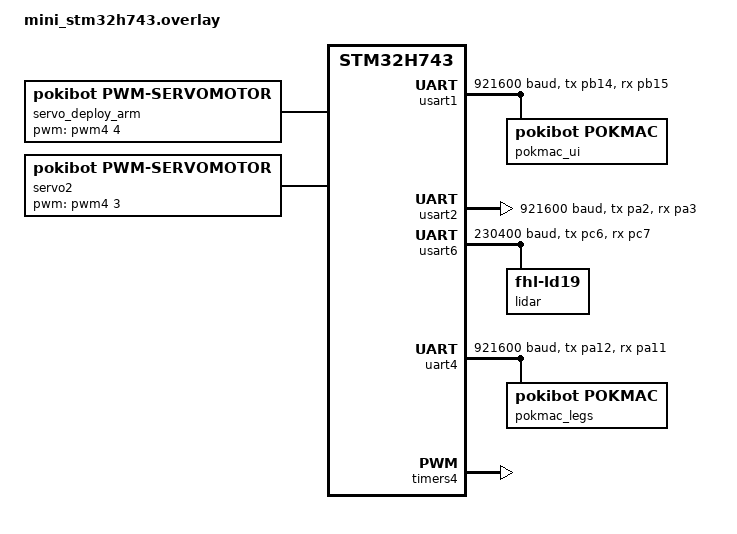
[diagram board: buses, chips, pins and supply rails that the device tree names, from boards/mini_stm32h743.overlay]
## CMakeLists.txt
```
cmake_minimum_required(VERSION 3.20.0)

find_package(Zephyr REQUIRED HINTS $ENV{ZEPHYR_BASE})
project(pokirobot_brain_soft)

target_include_directories(app PRIVATE src)

target_sources(app PRIVATE
    src/main.c
    src/nav/nav.c
    # src/control/control.c
    src/pokarm/pokarm.c
    src/pomicontrol/pomicontrol.c
    src/astar-jps/IndexPriorityQueue.c
    src/astar-jps/AStar.c
)


if(BOARD STREQUAL "native_sim")
target_sources(app PRIVATE
    src/const_publisher.c
    src/control/control_sim.c
)
else()
target_sources(app PRIVATE
    src/control/control.c
)
endif()

# Quick hack for Clion to include all zephyr workspace files in the project file tree view.
include_directories(${ZEPHYR_BASE}/..)
```

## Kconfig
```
menu "Zephyr"
source "Kconfig.zephyr"
endmenu

menu "PokiSettings"

rsource "src/nav/Kconfig"

endmenu
```

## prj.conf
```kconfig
CONFIG_MAIN_THREAD_PRIORITY=15

# SERIAL
CONFIG_SERIAL=y
CONFIG_LOG=y
CONFIG_UART_INTERRUPT_DRIVEN=y
CONFIG_DMA=y
CONFIG_UART_ASYNC_API=y

CONFIG_CAN=y

CONFIG_LOG_MODE_DEFERRED=y
# CONFIG_LOG_MODE_IMMEDIATE=y
CONFIG_LOG_BACKEND_SHOW_COLOR=y
CONFIG_LOG_DEFAULT_LEVEL=3
CONFIG_LOG_BUFFER_SIZE=8192

# MATH
CONFIG_FPU=y
CONFIG_FPU_SHARING=y

CONFIG_HEAP_MEM_POOL_SIZE=65536
CONFIG_MAIN_STACK_SIZE=4096

CONFIG_EVENTS=y

CONFIG_POKUTILS=y

CONFIG_POKUICOM=y
CONFIG_LIDAR=y
CONFIG_POKSTEPPER=y
CONFIG_SERVOMOTOR=y

CONFIG_CBPRINTF_COMPLETE=y
CONFIG_CBPRINTF_FP_SUPPORT=y

CONFIG_NOCACHE_MEMORY=y

CONFIG_UART_USE_RUNTIME_CONFIGURE=y
```

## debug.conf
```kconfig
CONFIG_DEBUG=y
CONFIG_ASSERT=y
CONFIG_ASAN=y
CONFIG_UBSAN=y
CONFIG_STACK_SENTINEL=y
CONFIG_INIT_STACKS=y
CONFIG_THREAD_MONITOR=y
```

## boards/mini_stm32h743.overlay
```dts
/ {
    chosen {
        pokibot,pokuicom = &pokmac_ui;
        pokibot,poklegscom = &pokmac_legs;
  		zephyr,console = &usart2;
		zephyr,shell-uart = &usart2;
    };

    aliases {
        mainlidar = &lidar;
    };

    servo_deploy_arm:servo1 {
        status = "okay";
        compatible = "pokibot,pwm-servomotor";
        pwms = <&pwm4 4 PWM_MSEC(20) PWM_POLARITY_NORMAL>;
        min-pulse = <PWM_USEC(500)>;
        max-pulse = <PWM_USEC(2500)>;
        min-angle = <0>;
        max-angle = <180>;
    };

    servo2 {
        status = "okay";
        compatible = "pokibot,pwm-servomotor";
        pwms = <&pwm4 3 PWM_MSEC(20) PWM_POLARITY_NORMAL>;
        min-pulse = <PWM_USEC(500)>;
        max-pulse = <PWM_USEC(2500)>;
        min-angle = <0>;
        max-angle = <180>;
    };
};

&usart1 {
    status = "okay";
    pinctrl-0 = <&usart1_tx_pb14 &usart1_rx_pb15>;
    pinctrl-names = "default";
    current-speed = <921600>;
    pokmac_ui: pokmac_ui {
        compatible = "pokibot,pokmac";
        status = "okay";
    };
};

&usart2 {
    status = "okay";
    pinctrl-0 = <&usart2_tx_pa2 &usart2_rx_pa3>;
    pinctrl-names = "default";
   	current-speed = <921600>;
};

&usart6 {
    status = "okay";
    pinctrl-0 = <&usart6_tx_pc6 &usart6_rx_pc7>;
    pinctrl-names = "default";
   	current-speed = <230400>;
    lidar: lidar {
        compatible = "zephyr,fhl-ld19";
        status = "okay";
    };
};

&uart4 {
    status = "okay";
    pinctrl-0 = <&uart4_tx_pa12 &uart4_rx_pa11>;
    pinctrl-names = "default";
    current-speed = <921600>;
    pokmac_legs: pokmac_legs {
        compatible = "pokibot,pokmac";
        status = "okay";
    };
};

&timers4 {
	status = "okay";

	pwm4: pwm {
		status = "okay";
		pinctrl-0 = <&tim4_ch4_pd15 &tim4_ch3_pd14>;
		pinctrl-names = "default";
	};
};
```

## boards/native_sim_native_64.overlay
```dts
/ {

aliases {
		mainlidar = &lidar;
    };

    lidar: lidar {
        status = "okay";
        compatible = "pokibot,msmlidar";
        id = <0>;
    };

    stepper_arm: stepper_arm {
        status = "okay";
        compatible = "pokibot,empty-pokstepper";
    };

    stepper0: stepper0 {
        status = "okay";
        compatible = "pokibot,empty-pokstepper";
    };

    stepper1: stepper1 {
        status = "okay";
        compatible = "pokibot,empty-pokstepper";
    };

    stepper2: stepper2 {
        status = "okay";
        compatible = "pokibot,empty-pokstepper";
    };
};
```

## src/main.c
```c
#include <zephyr/kernel.h>
#include <zephyr/logging/log.h>
#include <pokibot/pokuicom.h>
#include "nav/nav.h"
#include "pokibot/lib/poktocol.h"
#include "pokibot/lib/pokutils.h"
#include "pokibot/poktypes.h"
#include "pomicontrol/pomicontrol.h"
#include "pokdefs.h"
#include "pokarm/pokarm.h"
#include "control/control.h"
#include <math.h>
#include <stdint.h>

LOG_MODULE_REGISTER(main);

#define STAND_DROP_DISTANCE_FROM_BORDER 0.075f

enum nav_obstacle_names {
    NAV_OBS_NAME_GRENIER,
    NAV_OBS_NAME_CRATES_TOP_RIGHT,
    NAV_OBS_NAME_LAST_STATIC_REGISTER,
};

// clang-format off
struct nav_obstacle static_obstacles[] = {
    // RAMPE
    [NAV_OBS_NAME_GRENIER] = {
        .type = NAV_OBSTACLE_TYPE_RECTANGLE,
        .data.rectangle = {
            .point = {
                .x = 0.0f,
                .y = 1775.0f,
            },
            .width = 1800.0f,
            .height = 450.0f,
        }
    },
    [NAV_OBS_NAME_CRATES_TOP_RIGHT] = {
        .type = NAV_OBSTACLE_TYPE_RECTANGLE,
        .data.rectangle = {
            .point = {
                .x = BOARD_MIN_X + 2825.0f,
                .y = 1200.0f,
            },
            .width = 150.0f,
            .height = 150.0f,
        }
    },
};
// clang-format on

void pomi_activate_work_handler(struct k_work *work);
K_WORK_DELAYABLE_DEFINE(pomi_activate_work, pomi_activate_work_handler);

void end_of_match_work_handler(struct k_work *work);
K_WORK_DELAYABLE_DEFINE(end_of_match_work, end_of_match_work_handler);

// DEFINE EVERYTHING FOR BLUE

const struct nav_obstacle start_zone = {
    .type = NAV_OBSTACLE_TYPE_RECTANGLE,
    .data.rectangle = {
        .point = {
            .x = BOARD_MIN_X + 2700.0f,
            .y = 1775.0f
        },
        .height = 450.0f,
        .width = 600.0f,
    }
};

const struct nav_obstacle end_zone = start_zone;

const point2_t start_point = {
    .x = BOARD_MIN_X + 2700.0f,
    .y = BOARD_MAX_Y - ROBOT_CENTER_TO_RECAL_SIDE,
};

#define BOARD_END_POS_X (BOARD_MIN_X + 2800.0f)

const pos2_t end_pos = {
    .x = BOARD_END_POS_X,
    .y = 1775.0f,
    .a = 0.0f,
};;

#define TEMP_0_WIDTH   250.0f
#define CURSOR_WIDTH   100.0f

#define TEMP_0_X   (BOARD_MIN_X + 2875.0f)
#define TEMP_10_X   (BOARD_MIN_X + 2300.0f)

#define CURSOR_START_X (TEMP_0_X - TEMP_0_WIDTH / 2.0f + CURSOR_WIDTH / 2.0f)
#define CURSOR_END_X (TEMP_10_X - CURSOR_WIDTH / 3.0f)

pos2_t zone_exit_wp = {
    .x = BOARD_MIN_X + 2700.0f,
    .y = 1600.0f,
    .a = 0.0f,
};

pos2_t zone_enter_wp = {
    .x = BOARD_END_POS_X,
    .y = 1200.0f,
    .a = 0.0f,
};

pos2_t corridor_top_wp = {
    .x = BOARD_MIN_X + 2500.0f,
    .y = 1200.0f,
    .a = 0.0f,
};

pos2_t corridor_mid_wp = {
    .x = BOARD_MIN_X + 2500.0f,
    .y = 850.0f,
    .a = 0.0f,
};

pos2_t corridor_bottom_wp = {
    .x = BOARD_MIN_X + 2500.0f,
    .y = 300.0f,
    .a = 0.0f,
};

pos2_t pus_top_r_wp1 = {
    .x = BOARD_MAX_X - ROBOT_DIST_TO_FLAT_SIZE - 10.0f,
    .y = 850.0f,
    .a = 0.0f,
};

pos2_t pus_top_r_wp2 = {
    .x = BOARD_MAX_X - ROBOT_DIST_TO_FLAT_SIZE - 10.0f,
    .y = 1600.0f,
    .a = 0.0f,
};

pos2_t pus_top_r_go_bw_wp3 = {
    .x = BOARD_MAX_X - ROBOT_DIST_TO_FLAT_SIZE - 10.0f,
    .y = 1500.0f,
    .a = 0.0f,
};

pos2_t pus_top_r_recal = {
    .x = BOARD_MAX_X - ROBOT_DIST_TO_FLAT_SIZE - 50.0f,
    .y = 1400.0f,
    .a = 0.0f,
};

pos2_t pus_mid_wp1 = {
    .x = BOARD_MIN_X + 2500.0f,
    .y = 800.0f,
    .a = 0.0f,
};

pos2_t pus_mid_wp2 = {
    .x = BOARD_MIN_X + 1800.0f,
    .y = 800.0f,
    .a = 0.0f,
};

pos2_t cursor_wp1 = {
    .x = CURSOR_START_X,
    .y = ROBOT_RADIUS + 50.0f,
    .a = 0.0f,
};

pos2_t cursor_wp2 = {
    .x = CURSOR_START_X,
    .y = ROBOT_RADIUS + 30.0f,
    .a = 0.0f,
};

pos2_t cursor_wp3 = {
    .x = CURSOR_END_X,
    .y = ROBOT_RADIUS + 30.0f,
    .a = 0.0f,
};

pos2_t cursor_wp4 = {
    .x = CURSOR_END_X,
    .y = ROBOT_RADIUS + 50.0f,
    .a = 0.0f,
};

struct point2 convert_point_for_team(enum pokprotocol_team color, struct point2 point)
{
    if (color == POKTOCOL_TEAM_BLUE) {
        return point;
    }

    point.x = -point.x;
    return point;
}

struct pos2 convert_pos_for_team(enum pokprotocol_team color, struct pos2 pos, float offset)
{
    if (color == POKTOCOL_TEAM_BLUE) {
        pos.a += offset;
        return pos;
    }

    pos.x = -pos.x;
    pos.a = -(pos.a - M_PI) + offset;
    return pos;
}

struct pos2 convert_pos_for_team_no_angle(enum pokprotocol_team color, struct pos2 pos, float offset)
{
    if (color == POKTOCOL_TEAM_BLUE) {
        pos.a += offset;
        return pos;
    }

    pos.x = -pos.x;
    pos.a = pos.a + offset;
    return pos;
}

void pomi_activate_work_handler(struct k_work *work)
{
    LOG_INF("Activating pomis");
    pomicontrol_activate();
}

void end_of_match_work_handler(struct k_work *work)
{
    nav_cancel();
    LOG_INF("Match is over");
    k_sleep(K_FOREVER);
}

uint8_t score = 0;

#define WAIT_EVENTS_AND_HANDLE(events)                                                             \
    nav_wait_events(&events);                                                                      \
    if (events & NAV_EVENT_CANCELED) {                                                             \
        return -2;                                                                                 \
    } else if (events & NAV_EVENT_TIMEOUT) {                                                       \
        return -1;                                                                                 \
    }

enum recal_dir {
    recal_dir_n,
    recal_dir_s,
    recal_dir_e,
    recal_dir_w,
};

void wall_recalibration(enum pokprotocol_team color, pos2_t recal_start_pos, float offset, enum recal_dir dir)
{
    return;
    const float_t recal_dist = 200.0f; 

    uint32_t nav_events;

    pos2_t start_calib_pos = convert_pos_for_team_no_angle(color, recal_start_pos, offset);
    nav_go_to_direct(start_calib_pos, K_SECONDS(10));
    nav_wait_events(&nav_events);

    nav_set_speed(200.0f, ANGULAR_VMAX_DEFAULT);  
    pos2_t sensivity = {
        .x = 1.0f,
        .y = 1.0f,
        .a = DEG_TO_RAD(0.5f),
    };
    nav_set_sensivity(&sensivity);
    LOG_INF(LOG_POS_ARGS("start_pos", recal_start_pos));
    
    pos2_t pos_recal = recal_start_pos;
    pos2_t pos_expected = recal_start_pos;
    
    float rotation_target;
    switch (dir) {
        case recal_dir_n:
        rotation_target = M_PI/2;
        pos_recal.y += recal_dist;
            pos_expected.y = BOARD_MAX_Y - ROBOT_CENTER_TO_RECAL_SIDE;
            break;
        case recal_dir_s:
            rotation_target = -M_PI/2;
            pos_recal.y -= recal_dist;
            pos_expected.y = BOARD_MIN_Y + ROBOT_CENTER_TO_RECAL_SIDE;
        break;
        case recal_dir_e:
            rotation_target = 0.0f;
            pos_recal.x += recal_dist;
            pos_expected.x = BOARD_MAX_X - ROBOT_CENTER_TO_RECAL_SIDE;
            break;
            case recal_dir_w:
            rotation_target = M_PI;
            pos_recal.x -= recal_dist;
            pos_expected.x = BOARD_MIN_X + ROBOT_CENTER_TO_RECAL_SIDE;
            break;
        default:
            return;
    }

    pos_recal.a = rotation_target;
    pos_expected.a = rotation_target;
    recal_start_pos.a = rotation_target;
    nav_go_to_direct(convert_pos_for_team(color, recal_start_pos, ROBOT_CALIB_SIDE_OFFSET), K_SECONDS(10));
    nav_wait_events(&nav_events);

    LOG_INF("rotation_target %f", (double)rotation_target);
    LOG_INF(LOG_POS_ARGS("recal_start_pos", recal_start_pos));
    LOG_INF(LOG_POS_ARGS("pos_recal", pos_recal));
    LOG_INF(LOG_POS_ARGS("pos_expected", pos_expected));
    
    pos_recal = convert_pos_for_team(color, pos_recal, ROBOT_CALIB_SIDE_OFFSET);
    pos_expected = convert_pos_for_team(color, pos_expected, ROBOT_CALIB_SIDE_OFFSET);
    recal_start_pos = convert_pos_for_team(color, recal_start_pos, ROBOT_CALIB_SIDE_OFFSET);

    LOG_INF("Back to native color");
    LOG_INF(LOG_POS_ARGS("recal_start_pos", recal_start_pos));
    LOG_INF(LOG_POS_ARGS("pos_recal", pos_recal));
    LOG_INF(LOG_POS_ARGS("pos_expected", pos_expected));
    
    nav_go_to_direct(pos_recal, K_SECONDS(10));
    nav_wait_events(&nav_events);
    nav_set_pos(pos_expected);
    
    nav_go_to_direct(recal_start_pos, K_SECONDS(10));
    nav_wait_events(&nav_events);
    
    nav_set_speed(PLANAR_VMAX_DEFAULT, ANGULAR_VMAX_DEFAULT);
    
    nav_set_sensivity(NULL);

    nav_go_to_direct(start_calib_pos, K_SECONDS(10));
    nav_wait_events(&nav_events);
}


int match(enum pokprotocol_team color)
{
    uint32_t match_start_time_ms =  k_uptime_get_32();

    nav_set_pos(convert_pos_for_team_no_angle(color, CONVERT_POINT2_TO_POS2(start_point, 0.0f), M_PI));
    nav_set_brake(false);

    LOG_INF("Leaving start zone");
    uint32_t nav_events;
    nav_go_to_direct(convert_pos_for_team_no_angle(color, zone_exit_wp, M_PI), K_FOREVER);
    nav_wait_events(&nav_events);
    nav_go_to_direct(convert_pos_for_team_no_angle(color, corridor_top_wp, M_PI), K_FOREVER);
    nav_wait_events(&nav_events);
    LOG_INF("Left start zone");

    nav_go_to_direct(convert_pos_for_team_no_angle(color, corridor_mid_wp, M_PI), K_FOREVER);
    nav_wait_events(&nav_events);
    nav_go_to_direct(convert_pos_for_team_no_angle(color, pus_top_r_wp1, M_PI), K_FOREVER);
    nav_wait_events(&nav_events);
    nav_go_to_direct(convert_pos_for_team_no_angle(color, pus_top_r_wp2, M_PI), K_FOREVER);
    nav_wait_events(&nav_events);
    score += 1;
    pokuicom_send_score(score);

    LOG_INF("Back in start zone");
    nav_go_to_direct(convert_pos_for_team_no_angle(color, pus_top_r_go_bw_wp3, M_PI), K_FOREVER);
    nav_wait_events(&nav_events);

    wall_recalibration(color, pus_top_r_recal, M_PI, recal_dir_e);

    nav_go_to_direct(convert_pos_for_team_no_angle(color, corridor_top_wp, M_PI), K_FOREVER);
    nav_wait_events(&nav_events);
    LOG_INF("Left start zone");

    LOG_INF("Push 2");
    nav_go_to_direct(convert_pos_for_team(color, pus_mid_wp1, -M_PI/2.0f), K_SECONDS(5));
    nav_wait_events(&nav_events);
    nav_go_to_direct(convert_pos_for_team(color, pus_mid_wp2, -M_PI/2.0f), K_SECONDS(5));
    nav_wait_events(&nav_events);
    nav_go_to_direct(convert_pos_for_team(color, pus_mid_wp1, -M_PI/2.0f), K_SECONDS(5));
    nav_wait_events(&nav_events);

    nav_go_to_direct(convert_pos_for_team_no_angle(color, corridor_bottom_wp, 0.0f), K_FOREVER);
    nav_wait_events(&nav_events);

    wall_recalibration(color, corridor_bottom_wp, 0.0f, recal_dir_s);

    LOG_INF("CURSOR");
    nav_go_to_direct(convert_pos_for_team_no_angle(color, cursor_wp1, M_PI), K_FOREVER);
    nav_wait_events(&nav_events);
    nav_go_to_direct(convert_pos_for_team_no_angle(color, cursor_wp2, M_PI), K_FOREVER);
    nav_wait_events(&nav_events);
    nav_go_to_direct(convert_pos_for_team_no_angle(color, cursor_wp3, M_PI), K_FOREVER);
    nav_wait_events(&nav_events);
    nav_go_to_direct(convert_pos_for_team_no_angle(color, cursor_wp4, M_PI), K_FOREVER);
    nav_wait_events(&nav_events);

    score += 1;
    pokuicom_send_score(score);

    LOG_INF("GO CORRIDOR");

    nav_go_to_direct(convert_pos_for_team_no_angle(color, corridor_bottom_wp, M_PI), K_FOREVER);
    nav_wait_events(&nav_events);
    nav_go_to_direct(convert_pos_for_team_no_angle(color, corridor_top_wp, M_PI), K_FOREVER);
    nav_wait_events(&nav_events);

    wall_recalibration(color, zone_enter_wp, M_PI, recal_dir_e);

    nav_go_to_direct(convert_pos_for_team_no_angle(color, zone_enter_wp, M_PI), K_FOREVER);
    nav_wait_events(&nav_events);

    LOG_INF("GO HOME");

    // WAIT UNTIL 95s
    while ((k_uptime_get_32() - match_start_time_ms) < (95 * 1000)) {
        k_sleep(K_MSEC(100));
    }

    nav_go_to_direct(convert_pos_for_team_no_angle(color, end_pos, 2*M_PI), K_FOREVER);
    nav_wait_events(&nav_events);

    pokuicom_send_score(123);

    k_sleep(K_FOREVER);
    return 0;
}

void calibrate(enum pokprotocol_team color)
{
    nav_obstacle_detection(false);
    // nav_set_speed(200.0f, NAV_ANGULAR_VMAX_DEFAULT);

    k_sleep(K_MSEC(1000));

    pos2_t start_pos = CONVERT_POINT2_TO_POS2(start_point, 0.0f);
    nav_set_pos(convert_pos_for_team_no_angle(color, start_pos, M_PI));
    nav_set_brake(false);
    
    wall_recalibration(color, start_pos, M_PI, recal_dir_n);
    wall_recalibration(color, start_pos, M_PI, recal_dir_e);

    // nav_set_speed(NAV_PLANAR_VMAX_DEFAULT, NAV_ANGULAR_VMAX_DEFAULT);
    nav_obstacle_detection(true);
}

int main(void)
{
    LOG_INF("Pokibot main start");

    for (int i = 0; i < NAV_OBS_NAME_LAST_STATIC_REGISTER; i++) {
        nav_register_obstacle(&static_obstacles[i]);
    }

    // pokarm_pinch(false);
    // pokarm_reset_pos();
    // k_sleep(K_MSEC(4000));
    // pokarm_pinch(true);
    // k_sleep(K_MSEC(1000));
    // pokarm_lift(true);

    LOG_INF("Regiter static obstacles: OK");

    // Wait for the starting cord to be put in to init few things
    while (pokuicom_get_tirette_status() != POKTOCOL_TIRETTE_STATUS_PLUGGED) {
        pokuicom_request(POKTOCOL_DATA_TYPE_UI_TIRETTE_STATUS);
        k_sleep(K_MSEC(10));
    }

    enum pokprotocol_team color;
    while (pokuicom_get_team_color(&color)) {
        pokuicom_request(POKTOCOL_DATA_TYPE_UI_TEAM);
        k_sleep(K_MSEC(10));
    }
    LOG_INF("Team: %s", color == POKTOCOL_TEAM_BLUE ? "blue" : "yellow");

    pokarm_reset_pos();
    pokarm_pinch(false);
    pokarm_deploy(false);
    score = 0;
    pokuicom_send_score(score);
    LOG_INF("Init of all the actuators: OK");

    // LOG_INF("Calibration");
    // calibrate(color);
    // LOG_INF("Calibration: OK");

    while (pokuicom_get_tirette_status() != POKTOCOL_TIRETTE_STATUS_UNPLUGGED) {
        pokuicom_request(POKTOCOL_DATA_TYPE_UI_TIRETTE_STATUS);
        k_sleep(K_MSEC(10));
    }

    LOG_INF("Match started");
    k_work_schedule(&pomi_activate_work, K_SECONDS(85));
    k_work_schedule(&end_of_match_work, K_SECONDS(100));

    match(color);
    return 0;
}
```

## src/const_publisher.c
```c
#include <zephyr/kernel.h>
#include <zephyr/logging/log.h>
#include "pokdefs.h"

LOG_MODULE_REGISTER(const_pub);


int pub_const_init(void) {
    return 0;
}

SYS_INIT(pub_const_init, APPLICATION, 0);
```

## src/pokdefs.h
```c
#ifndef POKDEFS_H
#define POKDEFS_H
#include <pokibot/lib/pokutils.h>

#define BOARD_MIN_X    -1500.0f
#define BOARD_MAX_X    1500.0f
#define BOARD_SIZE_X   (BOARD_MAX_X - BOARD_MIN_X)
#define BOARD_CENTER_X ((BOARD_MIN_X + BOARD_MAX_X) / 2.0f)
#define BOARD_MIN_Y    0.0f
#define BOARD_MAX_Y    2000.0f
#define BOARD_SIZE_Y   (BOARD_MAX_Y - BOARD_MIN_Y)
#define BOARD_CENTER_Y ((BOARD_MIN_Y + BOARD_MAX_Y) / 2.0f)

#define ROBOT_RADIUS                 180.0f
#define ROBOT_DIST_TO_FLAT_SIZE      165.0f
#define ROBOT_CENTER_POLE_RADIUS     49.0f
#define ROBOT_CENTER_TO_RECAL_SIDE   130.0f

#define ROBOT_CALIB_SIDE_OFFSET      (M_PI / 2.0f)
// #define ROBOT_PUSH_SIDE_OFFSET      (M_PI - M_PI / 6)

#define OPPONENT_ROBOT_MAX_RADIUS   191.0f // 1.2/(2*pi)

#define TAG_POLE_MIN_RADIUS (70.0f/2.0f)

#define DISTANCE_FROM_OBSTACLE_MARGIN  200.0f
#define LIDAR_STOP_DISTANCE_MAX (ROBOT_RADIUS + OPPONENT_ROBOT_MAX_RADIUS - TAG_POLE_MIN_RADIUS + DISTANCE_FROM_OBSTACLE_MARGIN)
#define LIDAR_STOP_DISTANCE_MIN (ROBOT_RADIUS + 2.0f)
#define LIDAR_STOP_ANGLE_START    (((float)M_PI)/4.0f)
#define LIDAR_STOP_ANGLE_END      ((float)M_PI)

#endif
```
